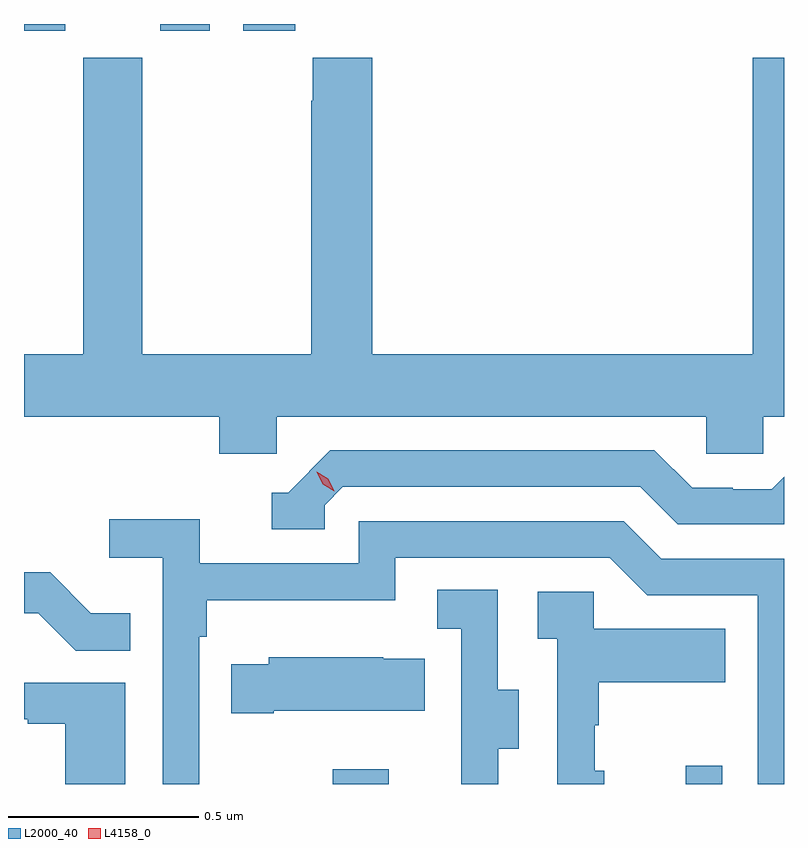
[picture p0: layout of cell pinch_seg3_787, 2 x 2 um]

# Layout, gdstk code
import gdstk
lib = gdstk.Library(unit=1e-6, precision=1e-09)
def R(c, l, rs):  # rectangles x0, y0, x1, y1
    for r in rs: c.add(gdstk.rectangle(r[:2], r[2:], *l))
def P(c, l, *ps):  # polygons
    for p in ps: c.add(gdstk.Polygon(p, *l))
L2000_40 = (2000, 40)
L4158_0 = (4158, 0)

pinch_seg3_787 = lib.new_cell('pinch_seg3_787')
R(pinch_seg3_787, L2000_40, [(815.62,742.573,815.767,742.612), (816.548,742.573,816.645,742.621), (814.807,744.555,814.915,744.573), (815.165,744.555,815.296,744.573), (815.384,744.555,815.521,744.573)])
P(pinch_seg3_787, L2000_40, [(815.472,743.54),(816.603,743.54),(816.603,743.442),(816.753,743.442),(816.753,743.54),(816.807,743.54),(816.807,744.484),(816.725,744.484),(816.725,743.704),(815.723,743.704),(815.723,744.484),(815.567,744.484),(815.567,744.371),(815.563,744.371),(815.563,743.704),(815.118,743.704),(815.118,744.484),(814.963,744.484),(814.963,743.704),(814.807,743.704),(814.807,743.54),(815.321,743.54),(815.321,743.442),(815.472,743.442)],
  [(815.598,743.307),(815.646,743.355),(816.429,743.355),(816.528,743.256),(816.807,743.256),(816.807,743.382),(816.775,743.349),(816.672,743.349),(816.672,743.352),(816.565,743.352),(816.466,743.451),(815.613,743.451),(815.502,743.34),(815.459,743.34),(815.459,743.244),(815.598,743.244)],
  [(815.268,742.961),(815.288,742.961),(815.288,743.057),(815.784,743.057),(815.784,743.169),(816.348,743.169),(816.447,743.07),(816.738,743.07),(816.738,742.573),(816.807,742.573),(816.807,743.166),(816.484,743.166),(816.385,743.265),(815.688,743.265),(815.688,743.154),(815.27,743.154),(815.27,743.27),(815.031,743.27),(815.031,743.168),(815.172,743.168),(815.172,742.573),(815.268,742.573)],
  [(815.087,743.023),(814.983,743.023),(814.876,743.13),(814.807,743.13),(814.807,743.022),(814.845,743.022),(814.943,742.924),(815.087,742.924)],
  [(816.055,742.666),(816.109,742.666),(816.109,742.821),(816.054,742.821),(816.054,743.084),(815.895,743.084),(815.895,742.981),(815.958,742.981),(815.958,742.677),(815.957,742.677),(815.957,742.573),(816.055,742.573)],
  [(816.334,742.608),(816.309,742.608),(816.309,742.727),(816.319,742.727),(816.319,742.841),(816.653,742.841),(816.653,742.981),(816.306,742.981),(816.306,743.079),(816.159,743.079),(816.159,742.955),(816.21,742.955),(816.21,742.573),(816.334,742.573)],
  [(815.464,742.766),(815.861,742.766),(815.861,742.903),(815.753,742.903),(815.753,742.906),(815.451,742.906),(815.451,742.888),(815.353,742.888),(815.353,742.759),(815.464,742.759)],
  [(815.074,742.839),(814.807,742.839),(814.807,742.743),(814.817,742.743),(814.817,742.731),(814.916,742.731),(814.916,742.573),(815.074,742.573)])
P(pinch_seg3_787, L4158_0, [(815.624,743.343),(815.593,743.362),(815.577,743.395),(815.577,743.395),(815.578,743.395),(815.608,743.376),(815.624,743.343),(815.624,743.343)])

lib.write_gds('pinch_seg3_787.gds')
